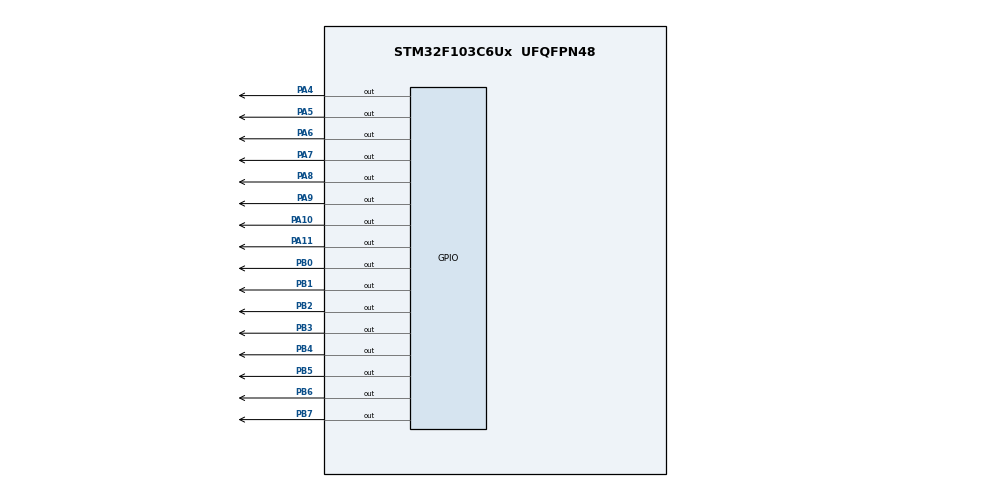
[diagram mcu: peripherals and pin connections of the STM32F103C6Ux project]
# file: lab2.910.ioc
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Mcu.Family=STM32F1
Mcu.Name=STM32F103C6Ux
Mcu.Package=UFQFPN48
NVIC.PriorityGroup=NVIC_PRIORITYGROUP_4
NVIC.TIM2_IRQn=true\:0\:0\:false\:false\:true\:true\:true
PA10.Signal=GPIO_Output
PA11.Signal=GPIO_Output
PA4.Signal=GPIO_Output
PA5.Signal=GPIO_Output
PA6.Signal=GPIO_Output
PA7.Signal=GPIO_Output
PA8.Signal=GPIO_Output
PA9.Signal=GPIO_Output
PB0.Signal=GPIO_Output
PB1.Signal=GPIO_Output
PB2.Signal=GPIO_Output
PB3.Signal=GPIO_Output
PB4.Signal=GPIO_Output
PB5.Signal=GPIO_Output
PB6.Signal=GPIO_Output
PB7.Signal=GPIO_Output
ProjectManager.HeapSize=0x200
ProjectManager.StackSize=0x400
ProjectManager.TargetToolchain=STM32CubeIDE
RCC.APB1Freq_Value=8000000
RCC.APB2Freq_Value=8000000
TIM2.Period=9
TIM2.Prescaler=7999
VP_SYS_VS_ND.Mode=No_Debug
VP_TIM2_VS_ClockSourceINT.Mode=Internal
board=custom

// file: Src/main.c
/* USER CODE BEGIN Header */
/**
  ******************************************************************************
  * @file           : main.c
  * @brief          : Main program body
  ******************************************************************************
  * @attention
  *
  * <h2><center>&copy; Copyright (c) 2026 STMicroelectronics.
  * All rights reserved.</center></h2>
  *
  * This software component is licensed by ST under BSD 3-Clause license,
  * the "License"; You may not use this file except in compliance with the
  * License. You may obtain a copy of the License at:
  *                        opensource.org/licenses/BSD-3-Clause
  *
  ******************************************************************************
  */
/* USER CODE END Header */
#include "main.h"

TIM_HandleTypeDef htim2;

void SystemClock_Config(void);
static void MX_GPIO_Init(void);
static void MX_TIM2_Init(void);

/* USER CODE BEGIN 0 */
int timer0_counter = 0;
int timer0_flag = 0;
int TIMER_CYCLE = 10;

void setTimer0(int duration){
	timer0_counter = duration/TIMER_CYCLE;
	timer0_flag = 0;
}

void timer_run(){
	if(timer0_counter > 0){
		timer0_counter--;
		if(timer0_counter == 0) timer0_flag = 1;
	}
}

const int MAX_LED_MATRIX = 8;
int index_led_matrix = 0;
uint8_t matrix_buffer[8] = {
		0b00011000,
		0b00100100,
		0b01000010,
		0b01000010,
		0b01111110,
		0b01000010,
		0b01000010,
		0b00000000
};
void displayLEDMatrix(int firstpin, int numrow){
  uint8_t pattern = matrix_buffer[numrow];
  for(int i = 0; i < 8; i++){
	  HAL_GPIO_WritePin(GPIOA, firstpin << i, (pattern & 1 << i) ? GPIO_PIN_RESET : GPIO_PIN_SET);
  }
}
void updateLEDMatrix (int numrow){
	HAL_GPIO_WritePin(GPIOB, GPIO_PIN_0|GPIO_PIN_1|GPIO_PIN_2|
							 GPIO_PIN_3|GPIO_PIN_4|GPIO_PIN_5|
							 GPIO_PIN_6|GPIO_PIN_7, GPIO_PIN_SET);

	switch(numrow){
		case 0:
			HAL_GPIO_WritePin(GPIOB, GPIO_PIN_0 , GPIO_PIN_RESET);
			displayLEDMatrix(GPIO_PIN_4, 0);
			break;
		case 1:
			HAL_GPIO_WritePin(GPIOB, GPIO_PIN_1, GPIO_PIN_RESET);
			displayLEDMatrix(GPIO_PIN_4, 1);
			break;
		case 2:
			HAL_GPIO_WritePin(GPIOB, GPIO_PIN_2, GPIO_PIN_RESET);
			displayLEDMatrix(GPIO_PIN_4, 2);
			break;
		case 3:
			HAL_GPIO_WritePin(GPIOB, GPIO_PIN_3, GPIO_PIN_RESET);
			displayLEDMatrix(GPIO_PIN_4, 3);
			break;
		case 4:
			HAL_GPIO_WritePin(GPIOB, GPIO_PIN_4, GPIO_PIN_RESET);
			displayLEDMatrix(GPIO_PIN_4, 4);
			break;
		case 5:
			HAL_GPIO_WritePin(GPIOB, GPIO_PIN_5, GPIO_PIN_RESET);
			displayLEDMatrix(GPIO_PIN_4, 5);
			break;
		case 6:
			HAL_GPIO_WritePin(GPIOB, GPIO_PIN_6, GPIO_PIN_RESET);
			displayLEDMatrix(GPIO_PIN_4, 6);
			break;
		case 7:
			HAL_GPIO_WritePin(GPIOA, GPIO_PIN_7, GPIO_PIN_RESET);
			displayLEDMatrix(GPIO_PIN_4, 7);
			break;
	default:
		break;
	}
}

void updateMATRIXBuffer(){
	for(int i = 0; i < 8; i++){
		uint8_t leftBit = matrix_buffer[i] & 0x80;
		matrix_buffer[i] = matrix_buffer[i] << 1;

		if(leftBit)
			matrix_buffer[i] |= 0x01;
	}
}
int timer1_counter = 1;
int timer1_flag = 0;

void setTimer1(int duration){
	timer1_counter = duration/TIMER_CYCLE;
	timer1_flag = 0;
}

void timer1_run(){
	if(timer1_counter > 0){
		timer1_counter--;
		if(timer1_counter == 0) timer1_flag = 1;
	}
}
/* USER CODE END 0 */

int main(void)
{

  /* MCU Configuration--------------------------------------------------------*/

  /* Reset of all peripherals, Initializes the Flash interface and the Systick. */
  HAL_Init();

  /* Configure the system clock */
  SystemClock_Config();

  /* Initialize all configured peripherals */
  MX_GPIO_Init();
  MX_TIM2_Init();
  /* USER CODE BEGIN 2 */
  HAL_TIM_Base_Start_IT(&htim2);
  /* USER CODE END 2 */

  /* Infinite loop */
  /* USER CODE BEGIN WHILE */
  setTimer1(1000);
  setTimer0(1000);
  while (1)
  {
    /* USER CODE END WHILE */

    /* USER CODE BEGIN 3 */
	  if(timer1_flag == 1){
		  updateLEDMatrix(index_led_matrix);
		  index_led_matrix++;
		  if(index_led_matrix >= MAX_LED_MATRIX) index_led_matrix = 0;

		  setTimer1(10);
	  }
	  if(timer0_flag == 1){
		  updateMATRIXBuffer();
		  setTimer0(1000);
	  }
  }
  /* USER CODE END 3 */
}

void SystemClock_Config(void)
{
  RCC_OscInitTypeDef RCC_OscInitStruct = {0};
  RCC_ClkInitTypeDef RCC_ClkInitStruct = {0};

  /** Initializes the RCC Oscillators according to the specified parameters
  * in the RCC_OscInitTypeDef structure.
  */
  RCC_OscInitStruct.OscillatorType = RCC_OSCILLATORTYPE_HSI;
  RCC_OscInitStruct.HSIState = RCC_HSI_ON;
  RCC_OscInitStruct.HSICalibrationValue = RCC_HSICALIBRATION_DEFAULT;
  RCC_OscInitStruct.PLL.PLLState = RCC_PLL_NONE;
  if (HAL_RCC_OscConfig(&RCC_OscInitStruct) != HAL_OK)
  {
    Error_Handler();
  }
  /** Initializes the CPU, AHB and APB buses clocks
  */
  RCC_ClkInitStruct.ClockType = RCC_CLOCKTYPE_HCLK|RCC_CLOCKTYPE_SYSCLK
                              |RCC_CLOCKTYPE_PCLK1|RCC_CLOCKTYPE_PCLK2;
  RCC_ClkInitStruct.SYSCLKSource = RCC_SYSCLKSOURCE_HSI;
  RCC_ClkInitStruct.AHBCLKDivider = RCC_SYSCLK_DIV1;
  RCC_ClkInitStruct.APB1CLKDivider = RCC_HCLK_DIV1;
  RCC_ClkInitStruct.APB2CLKDivider = RCC_HCLK_DIV1;

  if (HAL_RCC_ClockConfig(&RCC_ClkInitStruct, FLASH_LATENCY_0) != HAL_OK)
  {
    Error_Handler();
  }
}

static void MX_TIM2_Init(void)
{

  TIM_ClockConfigTypeDef sClockSourceConfig = {0};
  TIM_MasterConfigTypeDef sMasterConfig = {0};

  htim2.Instance = TIM2;
  htim2.Init.Prescaler = 7999;
  htim2.Init.CounterMode = TIM_COUNTERMODE_UP;
  htim2.Init.Period = 9;
  htim2.Init.ClockDivision = TIM_CLOCKDIVISION_DIV1;
  htim2.Init.AutoReloadPreload = TIM_AUTORELOAD_PRELOAD_DISABLE;
  if (HAL_TIM_Base_Init(&htim2) != HAL_OK)
  {
    Error_Handler();
  }
  sClockSourceConfig.ClockSource = TIM_CLOCKSOURCE_INTERNAL;
  if (HAL_TIM_ConfigClockSource(&htim2, &sClockSourceConfig) != HAL_OK)
  {
    Error_Handler();
  }
  sMasterConfig.MasterOutputTrigger = TIM_TRGO_RESET;
  sMasterConfig.MasterSlaveMode = TIM_MASTERSLAVEMODE_DISABLE;
  if (HAL_TIMEx_MasterConfigSynchronization(&htim2, &sMasterConfig) != HAL_OK)
  {
    Error_Handler();
  }

}

static void MX_GPIO_Init(void)
{
  GPIO_InitTypeDef GPIO_InitStruct = {0};

  /* GPIO Ports Clock Enable */
  __HAL_RCC_GPIOA_CLK_ENABLE();
  __HAL_RCC_GPIOB_CLK_ENABLE();

  /*Configure GPIO pin Output Level */
  HAL_GPIO_WritePin(GPIOA, GPIO_PIN_4|GPIO_PIN_5|GPIO_PIN_6|GPIO_PIN_7
                          |GPIO_PIN_8|GPIO_PIN_9|GPIO_PIN_10|GPIO_PIN_11, GPIO_PIN_RESET);

  /*Configure GPIO pin Output Level */
  HAL_GPIO_WritePin(GPIOB, GPIO_PIN_0|GPIO_PIN_1|GPIO_PIN_2|GPIO_PIN_3
                          |GPIO_PIN_4|GPIO_PIN_5|GPIO_PIN_6|GPIO_PIN_7, GPIO_PIN_RESET);

  /*Configure GPIO pins : PA4 PA5 PA6 PA7
                           PA8 PA9 PA10 PA11 */
  GPIO_InitStruct.Pin = GPIO_PIN_4|GPIO_PIN_5|GPIO_PIN_6|GPIO_PIN_7
                          |GPIO_PIN_8|GPIO_PIN_9|GPIO_PIN_10|GPIO_PIN_11;
  GPIO_InitStruct.Mode = GPIO_MODE_OUTPUT_PP;
  GPIO_InitStruct.Pull = GPIO_NOPULL;
  GPIO_InitStruct.Speed = GPIO_SPEED_FREQ_LOW;
  HAL_GPIO_Init(GPIOA, &GPIO_InitStruct);

  /*Configure GPIO pins : PB0 PB1 PB2 PB3
                           PB4 PB5 PB6 PB7 */
  GPIO_InitStruct.Pin = GPIO_PIN_0|GPIO_PIN_1|GPIO_PIN_2|GPIO_PIN_3
                          |GPIO_PIN_4|GPIO_PIN_5|GPIO_PIN_6|GPIO_PIN_7;
  GPIO_InitStruct.Mode = GPIO_MODE_OUTPUT_PP;
  GPIO_InitStruct.Pull = GPIO_NOPULL;
  GPIO_InitStruct.Speed = GPIO_SPEED_FREQ_LOW;
  HAL_GPIO_Init(GPIOB, &GPIO_InitStruct);

}

/* USER CODE BEGIN 4 */
void HAL_TIM_PeriodElapsedCallback(TIM_HandleTypeDef *htim){
	timer_run();
	timer1_run();
}
/* USER CODE END 4 */

void Error_Handler(void)
{
  __disable_irq();
  while (1)
  {
  }
}

/************************ (C) COPYRIGHT STMicroelectronics *****END OF FILE****/
